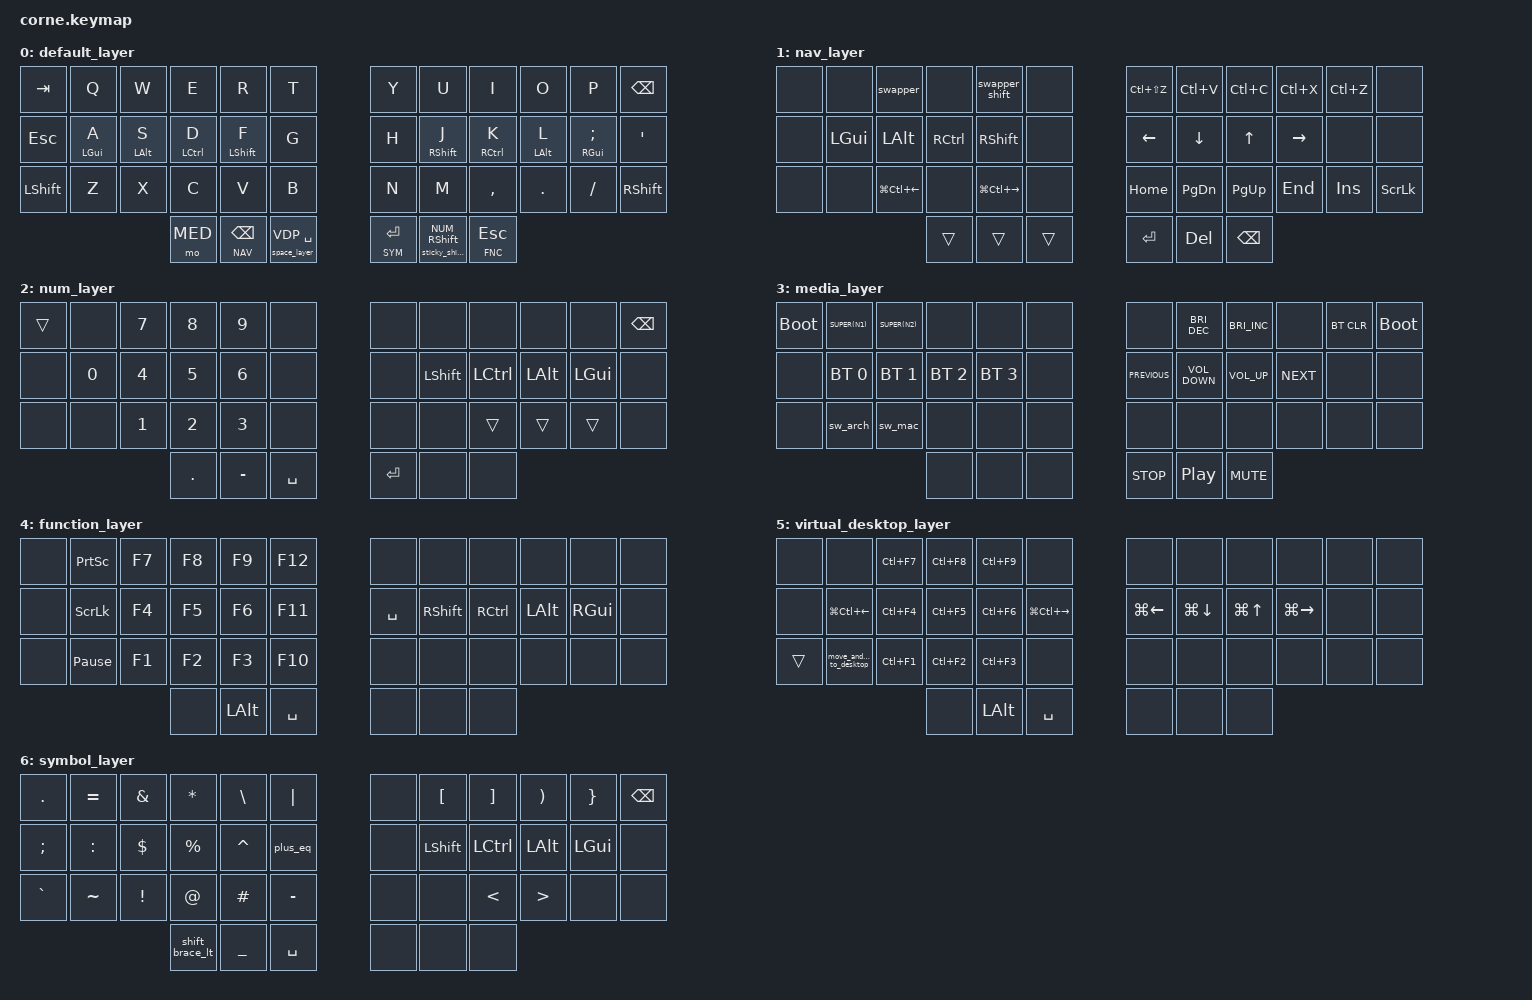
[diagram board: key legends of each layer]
/*
* Copyright (c) 2020 The ZMK Contributors
*
* SPDX-License-Identifier: MIT
*/
#include <behaviors.dtsi>
#include <dt-bindings/zmk/bt.h>
#include <dt-bindings/zmk/keys.h>
#include "zmk-helpers/helper.h"
#include "zmk-helpers/key-labels/42.h"

#define ___ &trans

#define DEF 0
#define NAV 1
#define NUM 2
#define MED 3
#define FNC 4
#define VDP 5
#define SYM 6

#define QUICK_TAP_MS 175


&sk {  
    release-after-ms = <1500>;  
    quick-release;             
};

#define KEYS_L LT0 LT1 LT2 LT3 LT4 LT5 LM0 LM1 LM2 LM3 LM4 LM5 LB0 LB1 LB2 LB3 LB4 LB5  

#define KEYS_R RT0 RT1 RT2 RT3 RT4 RT5 RM0 RM1 RM2 RM3 RM4 RM5 RB0 RB1 RB2 RB3 RB4 RB5 
#define THUMBS LH2 LH1 LH0 RH0 RH1 RH2  

#define MAKE_HRM(NAME, HOLD, TAP, TRIGGER_POS) \
    ZMK_HOLD_TAP(NAME, \
        flavor = "balanced"; \
        tapping-term-ms = <280>; \
        quick-tap-ms = <QUICK_TAP_MS>; \
        require-prior-idle-ms = <150>; \
        bindings = <HOLD>, <TAP>; \
        hold-trigger-key-positions = <TRIGGER_POS>; \
        hold-trigger-on-release; \
    )


MAKE_HRM(hml, &kp, &kp, KEYS_R THUMBS)  
MAKE_HRM(hmr, &kp, &kp, KEYS_L THUMBS)  

#define ZMK_COMBO_8(NAME, TAP, KEYPOS, LAYERS, COMBO_TERM, COMBO_IDLE, HOLD, SIDE) \
    MAKE_HRM(hm_combo_ ## NAME, &kp, TAP, SIDE THUMBS) \
    ZMK_COMBO_6(NAME, &hm_combo_ ## NAME HOLD 0, KEYPOS, LAYERS, COMBO_TERM, COMBO_IDLE)


#include "combos.dtsi"

#define SIMPLE_MORPH(NAME, MOD, BINDING1, BINDING2) \
    ZMK_MOD_MORPH(NAME, \
        mods = <(MOD_L ## MOD|MOD_R ## MOD)>; \
        bindings = <BINDING1>, <BINDING2>; \
)

&lt {
    flavor = "balanced";
    tapping-term-ms = <200>;
    quick-tap-ms = <QUICK_TAP_MS>;
};

// No quick-tap: the tap is a sticky mod, so there is nothing to repeat, and it would only
// forbid the layer on a re-press within the window.
ZMK_HOLD_TAP(sticky_shift_mod_layer,
    flavor = "balanced";
    tapping-term-ms = <150>;
    bindings = <&mo>, <&sk>;
)

// tap-preferred, unlike the other thumbs: under balanced a space-then-letter roll
// resolves as a hold and the space vanishes into the layer.
ZMK_HOLD_TAP(space_layer,
    flavor = "tap-preferred";
    tapping-term-ms = <200>;
    quick-tap-ms = <QUICK_TAP_MS>;
    bindings = <&mo>, <&kp>;
)

// Explicit on/off rather than &kt flip: each tri-state fires its own start binding, so
// pressing swapper_shift while swapper already holds Alt would flip Alt off.
/ {
    behaviors {
        kt_on: kt_on {
            compatible = "zmk,behavior-key-toggle";
            #binding-cells = <1>;
            toggle-mode = "on";
        };
        kt_off: kt_off {
            compatible = "zmk,behavior-key-toggle";
            #binding-cells = <1>;
            toggle-mode = "off";
        };
    };
};

ZMK_TRI_STATE(swapper,
    bindings = <&kt_on LALT>, <&kp TAB>, <&kt_off LALT>;
    ignored-key-positions = <LT3 LT1>;
)

ZMK_TRI_STATE(swapper_shift,
    bindings = <&kt_on LALT>, <&kp LS(TAB)>, <&kt_off LALT>;
    ignored-key-positions = <LT3 LT1>;
)

ZMK_BEHAVIOR(move_and_switch_to_desktop, macro,
    bindings = <&kp LG(LC(F1)) &kp LC(F1)>;
)


SIMPLE_MORPH(lpar_lt, SFT, &kp LPAR, &kp LT)
SIMPLE_MORPH(rpar_gt, SFT, &kp RPAR, &kp GT)
SIMPLE_MORPH(shift_brace_lt, SFT, &kp LPAR, &kp LEFT_BRACE)

// PLUS is LS(EQUAL), so Ctrl+plus reaches the host as Ctrl+Shift+Equal and apps that
// bind only Ctrl+= for zoom miss it. Under Ctrl send the bare EQUAL instead. keep-mods
// stops the morph masking the modifier that triggered it, so Ctrl still arrives. The Mac
// swaps Ctrl and Cmd for this keyboard, so the same branch covers Cmd+= there.
ZMK_MOD_MORPH(plus_eq,
    mods = <(MOD_LCTL|MOD_RCTL)>;
    keep-mods = <(MOD_LCTL|MOD_RCTL)>;
    bindings = <&kp PLUS>, <&kp EQUAL>;
)

#define desk_left &kp LG(LC(LEFT))
#define desk_right &kp LG(LC(RIGHT))

// Absolute monitor targets, not a toggle: both hosts bind both hotkeys to the same
// input, so the active host always drives the monitor to the named machine.
// arch = DisplayPort-1 (0x0f), mac = HDMI-1 (0x11).
// Meta+Ctrl+Alt, no shift: KDE matches the modifier set exactly, so the mac side
// binds these three too rather than its own four-modifier hyper.
#define SUPER(key) LC(LA(LG(key)))
#define DISP_ARCH SUPER(N1)
#define DISP_MAC  SUPER(N2)

// Hotkey first (the host we're leaving still owns the BT link), then hand over.
#define MAKE_HOST_SWITCH(NAME, DISP, PROFILE) \
    ZMK_BEHAVIOR(NAME, macro, \
        wait-ms = <40>; \
        tap-ms = <40>; \
        bindings = <&kp DISP>, <&bt BT_SEL PROFILE>; \
    )

MAKE_HOST_SWITCH(sw_arch, DISP_ARCH, 0)
MAKE_HOST_SWITCH(sw_mac,  DISP_MAC,  1)

ZMK_LAYER(default_layer,
//  ╭─────────────────┬─────────────────┬─────────────────┬─────────────────┬─────────────────┬─────────────────╮   ╭─────────────────┬─────────────────┬─────────────────┬─────────────────┬─────────────────┬─────────────────╮
    &kp TAB           &kp Q             &kp W             &kp E             &kp R             &kp T                 &kp Y             &kp U             &kp I             &kp O             &kp P             &kp BACKSPACE    
//  ├─────────────────┼─────────────────┼─────────────────┼─────────────────┼─────────────────┼─────────────────┤   ├─────────────────┼─────────────────┼─────────────────┼─────────────────┼─────────────────┼─────────────────┤
    &kp ESCAPE        &hml LEFT_GUI A   &hml LEFT_ALT S   &hml LCTRL D      &hml LEFT_SHIFT F &kp G                 &kp H             &hmr RIGHT_SHIFT J &hmr RIGHT_CONTROL K &hmr LEFT_ALT L &hmr RIGHT_GUI SEMICOLON &kp SINGLE_QUOTE
//  ├─────────────────┼─────────────────┼─────────────────┼─────────────────┼─────────────────┼─────────────────┤   ├─────────────────┼─────────────────┼─────────────────┼─────────────────┼─────────────────┼─────────────────┤
    &kp LEFT_SHIFT    &kp Z             &kp X             &kp C             &kp V             &kp B                 &kp N             &kp M             &kp COMMA         &kp DOT           &kp FSLH          &kp RIGHT_SHIFT  
//  ╰─────────────────┴─────────────────┴─────────────────┼─────────────────┼─────────────────┼─────────────────┤   ├─────────────────┼─────────────────┼─────────────────┼─────────────────┴─────────────────┴─────────────────╯
                                        &mo MED           &lt NAV BACKSPACE &space_layer VDP SPACE    &lt SYM ENTER &sticky_shift_mod_layer NUM RIGHT_SHIFT &lt FNC ESCAPE
//                                      ╰─────────────────┴─────────────────┴─────────────────╯   ╰─────────────────┴─────────────────┴─────────────────╯
)


ZMK_LAYER(nav_layer,
//  ╭─────────────────┬─────────────────┬─────────────────┬─────────────────┬─────────────────┬─────────────────╮   ╭─────────────────┬─────────────────┬─────────────────┬─────────────────┬─────────────────┬─────────────────╮
    &none             &none             &swapper          &none             &swapper_shift    &none                 &kp LC(LS(Z))     &kp LC(V)         &kp LC(C)         &kp LC(X)         &kp LC(Z)         &none
//  ├─────────────────┼─────────────────┼─────────────────┼─────────────────┼─────────────────┼─────────────────┤   ├─────────────────┼─────────────────┼─────────────────┼─────────────────┼─────────────────┼─────────────────┤
    &none             &kp LEFT_GUI      &kp LEFT_ALT      &kp RIGHT_CONTROL &kp RIGHT_SHIFT   &none                 &kp LEFT_ARROW    &kp DOWN_ARROW    &kp UP_ARROW      &kp RIGHT         &none             &none            
//  ├─────────────────┼─────────────────┼─────────────────┼─────────────────┼─────────────────┼─────────────────┤   ├─────────────────┼─────────────────┼─────────────────┼─────────────────┼─────────────────┼─────────────────┤
    &none             &none             desk_left         &none             desk_right        &none                 &kp HOME          &kp PAGE_DOWN     &kp PAGE_UP       &kp END           &kp INSERT        &kp SCROLLLOCK
//  ╰─────────────────┴─────────────────┴─────────────────┼─────────────────┼─────────────────┼─────────────────┤   ├─────────────────┼─────────────────┼─────────────────┼─────────────────┴─────────────────┴─────────────────╯
                                                          ___               ___               ___                   &kp ENTER         &kp DELETE     &kp BACKSPACE       
//                                      ╰─────────────────┴─────────────────┴─────────────────╯   ╰─────────────────┴─────────────────┴─────────────────╯
)

ZMK_LAYER(num_layer,
//  ╭─────────────────┬─────────────────┬─────────────────┬─────────────────┬─────────────────┬─────────────────╮   ╭─────────────────┬─────────────────┬─────────────────┬─────────────────┬─────────────────┬─────────────────╮
    ___               &none             &kp NUMBER_7      &kp NUMBER_8      &kp NUMBER_9      &none                 &none             &none             &none             &none             &none             &kp BACKSPACE
//  ├─────────────────┼─────────────────┼─────────────────┼─────────────────┼─────────────────┼─────────────────┤   ├─────────────────┼─────────────────┼─────────────────┼─────────────────┼─────────────────┼─────────────────┤
    &none             &kp NUMBER_0      &kp NUMBER_4      &kp NUMBER_5      &kp NUMBER_6      &none                 &none             &kp LEFT_SHIFT    &kp LEFT_CONTROL  &kp LEFT_ALT      &kp LEFT_GUI      &none            
//  ├─────────────────┼─────────────────┼─────────────────┼─────────────────┼─────────────────┼─────────────────┤   ├─────────────────┼─────────────────┼─────────────────┼─────────────────┼─────────────────┼─────────────────┤
    &none             &none             &kp NUMBER_1      &kp NUMBER_2      &kp NUMBER_3      &none                 &none             &none             ___               ___               ___               &none            
//  ╰─────────────────┴─────────────────┴─────────────────┼─────────────────┼─────────────────┼─────────────────┤   ├─────────────────┼─────────────────┼─────────────────┼─────────────────┴─────────────────┴─────────────────╯
                                                          &kp DOT           &kp MINUS         &kp SPACE             &kp ENTER         &none             &none            
//                                      ╰─────────────────┴─────────────────┴─────────────────╯   ╰─────────────────┴─────────────────┴─────────────────╯
)



ZMK_LAYER(media_layer,
//  ╭─────────────────┬─────────────────┬─────────────────┬─────────────────┬─────────────────┬─────────────────╮   ╭─────────────────┬─────────────────┬─────────────────┬─────────────────┬─────────────────┬─────────────────╮
    &bootloader       &kp DISP_ARCH     &kp DISP_MAC      &none             &none             &none                 &none             &kp C_BRIGHTNESS_DEC     &kp C_BRIGHTNESS_INC         &none             &bt BT_CLR        &bootloader
//  ├─────────────────┼─────────────────┼─────────────────┼─────────────────┼─────────────────┼─────────────────┤   ├─────────────────┼─────────────────┼─────────────────┼─────────────────┼─────────────────┼─────────────────┤
    &none             &bt BT_SEL 0      &bt BT_SEL 1      &bt BT_SEL 2  &bt BT_SEL 3          &none                 &kp C_PREVIOUS    &kp C_VOLUME_DOWN &kp C_VOLUME_UP   &kp C_NEXT        &none             &none       
//  ├─────────────────┼─────────────────┼─────────────────┼─────────────────┼─────────────────┼─────────────────┤   ├─────────────────┼─────────────────┼─────────────────┼─────────────────┼─────────────────┼─────────────────┤
    &none             &sw_arch          &sw_mac           &none             &none             &none                 &none             &none             &none             &none             &none             &none
//  ╰─────────────────┴─────────────────┴─────────────────┼─────────────────┼─────────────────┼─────────────────┤   ├─────────────────┼─────────────────┼─────────────────┼─────────────────┴─────────────────┴─────────────────╯
                                                          &none             &none             &none                 &kp C_STOP        &kp C_PLAY_PAUSE  &kp C_MUTE       
//                                      ╰─────────────────┴─────────────────┴─────────────────╯   ╰─────────────────┴─────────────────┴─────────────────╯
)

ZMK_LAYER(function_layer,
//  ╭─────────────────┬─────────────────┬─────────────────┬─────────────────┬─────────────────┬─────────────────╮   ╭─────────────────┬─────────────────┬─────────────────┬─────────────────┬─────────────────┬─────────────────╮
    &none             &kp PRINTSCREEN   &kp F7            &kp F8            &kp F9            &kp F12               &none             &none             &none             &none             &none             &none            
//  ├─────────────────┼─────────────────┼─────────────────┼─────────────────┼─────────────────┼─────────────────┤   ├─────────────────┼─────────────────┼─────────────────┼─────────────────┼─────────────────┼─────────────────┤
    &none             &kp SCROLLLOCK    &kp F4            &kp F5            &kp F6            &kp F11               &kp SPACE         &kp RIGHT_SHIFT   &kp RIGHT_CONTROL &kp LEFT_ALT      &kp RIGHT_GUI     &none
//  ├─────────────────┼─────────────────┼─────────────────┼─────────────────┼─────────────────┼─────────────────┤   ├─────────────────┼─────────────────┼─────────────────┼─────────────────┼─────────────────┼─────────────────┤
    &none             &kp PAUSE_BREAK   &kp F1            &kp F2            &kp F3            &kp F10               &none             &none             &none             &none             &none             &none            
//  ╰─────────────────┴─────────────────┴─────────────────┼─────────────────┼─────────────────┼─────────────────┤   ├─────────────────┼─────────────────┼─────────────────┼─────────────────┴─────────────────┴─────────────────╯
                                        &none             &kp LEFT_ALT      &kp SPACE                           &none             &none             &none
//                                      ╰─────────────────┴─────────────────┴─────────────────╯   ╰─────────────────┴─────────────────┴─────────────────╯
)

ZMK_LAYER(virtual_desktop_layer,
//  ╭─────────────────┬─────────────────┬─────────────────┬─────────────────┬─────────────────┬─────────────────╮   ╭─────────────────┬─────────────────┬─────────────────┬─────────────────┬─────────────────┬─────────────────╮
    &none             &none             &kp LC(F7)        &kp LC(F8)        &kp LC(F9)        &none                 &none             &none             &none             &none             &none             &none
//  ├─────────────────┼─────────────────┼─────────────────┼─────────────────┼─────────────────┼─────────────────┤   ├─────────────────┼─────────────────┼─────────────────┼─────────────────┼─────────────────┼─────────────────┤
    &none             desk_left         &kp LC(F4)        &kp LC(F5)        &kp LC(F6)        desk_right            &kp LG(LEFT_ARROW) &kp LG(DOWN_ARROW) &kp LG(UP_ARROW) &kp LG(RIGHT_ARROW) &none          &none
//  ├─────────────────┼─────────────────┼─────────────────┼─────────────────┼─────────────────┼─────────────────┤   ├─────────────────┼─────────────────┼─────────────────┼─────────────────┼─────────────────┼─────────────────┤
    ___               &move_and_switch_to_desktop         &kp LC(F1)        &kp LC(F2)        &kp LC(F3)        &none                 &none             &none             &none             &none             &none             &none
//  ╰─────────────────┴─────────────────┴─────────────────┼─────────────────┼─────────────────┼─────────────────┤   ├─────────────────┼─────────────────┼─────────────────┼─────────────────┴─────────────────┴─────────────────╯
                                                          &none             &kp LEFT_ALT      &kp SPACE             &none             &none             &none
//                                      ╰─────────────────┴─────────────────┴─────────────────╯   ╰─────────────────┴─────────────────┴─────────────────╯
)

// Declared last so it lands on layer 6. ZMK_LAYER assigns indices in declaration order.
ZMK_LAYER(symbol_layer,
//  ╭─────────────────┬─────────────────┬─────────────────┬─────────────────┬─────────────────┬─────────────────╮   ╭─────────────────┬─────────────────┬─────────────────┬─────────────────┬─────────────────┬─────────────────╮
    &kp DOT           &kp EQUAL         &kp AMPERSAND     &kp STAR          &kp BSLH          &kp PIPE              &none             &kp LBKT          &kp RBKT          &kp RPAR          &kp RBRC          &kp BACKSPACE
//  ├─────────────────┼─────────────────┼─────────────────┼─────────────────┼─────────────────┼─────────────────┤   ├─────────────────┼─────────────────┼─────────────────┼─────────────────┼─────────────────┼─────────────────┤
    &kp SEMICOLON     &kp COLON         &kp DOLLAR        &kp PERCENT       &kp CARET         &plus_eq              &none             &kp LSHFT         &kp LCTRL         &kp LEFT_ALT      &kp LEFT_GUI      &none
//  ├─────────────────┼─────────────────┼─────────────────┼─────────────────┼─────────────────┼─────────────────┤   ├─────────────────┼─────────────────┼─────────────────┼─────────────────┼─────────────────┼─────────────────┤
    &kp GRAVE         &kp TILDE         &kp EXCLAMATION   &kp AT            &kp HASH          &kp MINUS             &none             &none             &kp LESS_THAN     &kp GREATER_THAN  &none             &none
//  ╰─────────────────┴─────────────────┴─────────────────┼─────────────────┼─────────────────┼─────────────────┤   ├─────────────────┼─────────────────┼─────────────────┼─────────────────┴─────────────────┴─────────────────╯
                                                          &shift_brace_lt   &kp UNDER         &kp SPACE             &none             &none             &none
//                                      ╰─────────────────┴─────────────────┴─────────────────╯   ╰─────────────────┴─────────────────┴─────────────────╯
)
